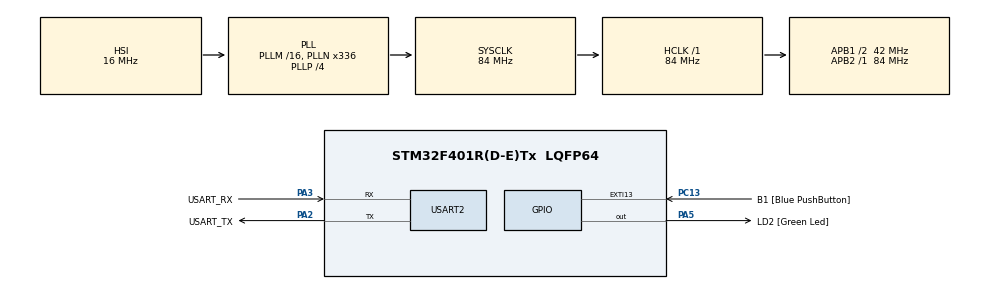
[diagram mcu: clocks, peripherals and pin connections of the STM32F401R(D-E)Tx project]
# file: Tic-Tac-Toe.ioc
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Mcu.Family=STM32F4
Mcu.Name=STM32F401R(D-E)Tx
Mcu.Package=LQFP64
NVIC.PriorityGroup=NVIC_PRIORITYGROUP_0
PA13.GPIO_Label=TMS
PA13.Mode=Serial_Wire
PA13.Signal=SYS_JTMS-SWDIO
PA14.GPIO_Label=TCK
PA14.Mode=Serial_Wire
PA14.Signal=SYS_JTCK-SWCLK
PA2.GPIO_Label=USART_TX
PA2.GPIO_Mode=GPIO_MODE_AF_PP
PA2.GPIO_PuPd=GPIO_NOPULL
PA2.GPIO_Speed=GPIO_SPEED_FREQ_LOW
PA2.Mode=Asynchronous
PA2.Signal=USART2_TX
PA3.GPIO_Label=USART_RX
PA3.GPIO_Mode=GPIO_MODE_AF_PP
PA3.GPIO_PuPd=GPIO_NOPULL
PA3.GPIO_Speed=GPIO_SPEED_FREQ_LOW
PA3.Mode=Asynchronous
PA3.Signal=USART2_RX
PA5.GPIO_Label=LD2 [Green Led]
PA5.GPIO_Mode=GPIO_MODE_OUTPUT_PP
PA5.GPIO_PuPd=GPIO_NOPULL
PA5.GPIO_Speed=GPIO_SPEED_FREQ_LOW
PA5.Signal=GPIO_Output
PB3.GPIO_Label=SWO
PB3.Signal=SYS_JTDO-SWO
PC13-ANTI_TAMP.GPIO_Label=B1 [Blue PushButton]
PC13-ANTI_TAMP.GPIO_ModeDefaultEXTI=GPIO_MODE_IT_FALLING
PC13-ANTI_TAMP.GPIO_PuPd=GPIO_NOPULL
PC13-ANTI_TAMP.Signal=GPXTI13
PC14-OSC32_IN.Mode=LSE-External-Oscillator
PC14-OSC32_IN.Signal=RCC_OSC32_IN
PC15-OSC32_OUT.Mode=LSE-External-Oscillator
PC15-OSC32_OUT.Signal=RCC_OSC32_OUT
PH0\ -\ OSC_IN.Mode=HSE-External-Clock-Source
PH0\ -\ OSC_IN.Signal=RCC_OSC_IN
PH1\ -\ OSC_OUT.Mode=HSE-External-Clock-Source
PH1\ -\ OSC_OUT.Signal=RCC_OSC_OUT
ProjectManager.HeapSize=0x200
ProjectManager.StackSize=0x400
ProjectManager.TargetToolchain=STM32CubeIDE
RCC.48MHZClocksFreq_Value=48000000
RCC.AHBFreq_Value=84000000
RCC.APB1CLKDivider=RCC_HCLK_DIV2
RCC.APB1Freq_Value=42000000
RCC.APB1TimFreq_Value=84000000
RCC.APB2Freq_Value=84000000
RCC.APB2TimFreq_Value=84000000
RCC.CortexFreq_Value=84000000
RCC.HCLKFreq_Value=84000000
RCC.HSE_VALUE=8000000
RCC.HSI_VALUE=16000000
RCC.PLLN=336
RCC.PLLP=RCC_PLLP_DIV4
RCC.PLLQ=7
RCC.SYSCLKFreq_VALUE=84000000
RCC.SYSCLKSource=RCC_SYSCLKSOURCE_PLLCLK
RCC.VCOOutputFreq_Value=336000000
USART2.VirtualMode=VM_ASYNC
board=NUCLEO-F401RE

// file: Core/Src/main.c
/* USER CODE BEGIN Header */
/**
  ******************************************************************************
  * @file           : main.c
  * @brief          : Main program body
  ******************************************************************************
  * @attention
  *
  * Copyright (c) 2024 STMicroelectronics.
  * All rights reserved.
  *
  * This software is licensed under terms that can be found in the LICENSE file
  * in the root directory of this software component.
  * If no LICENSE file comes with this software, it is provided AS-IS.
  *
  ******************************************************************************
  */
/* USER CODE END Header */
#include "main.h"
#include "usart.h"
#include "gpio.h"

/* USER CODE BEGIN PD */
#include <string.h>
#include <aifes.h>
#include "neural_network.h"
#include <time.h>
/* USER CODE END PD */

/* USER CODE BEGIN PM */

// Definizione dei simboli
#define  O   -64  // (value=-64; shift=6; zero_point=0) -> -1.0f
#define  X    64  // (value=64; shift=6; zero_point=0)  ->  1.0f

// The TicTacToe board. Can be X (AI), O (Player) or 0 (Free).
int8_t board[9];

/* USER CODE END PM */

void SystemClock_Config(void);

/* USER CODE BEGIN 0 */

// Funzione per inviare una stringa sulla seriale
void Serial_Print(UART_HandleTypeDef *huart, const char *message) {
    HAL_UART_Transmit(huart, (uint8_t *)message, strlen(message), HAL_MAX_DELAY);
}

// Funzione per leggere un singolo carattere dalla UART
uint8_t Serial_ReadChar(UART_HandleTypeDef *huart) {
    uint8_t ch;
    HAL_UART_Receive(huart, &ch, 1, HAL_MAX_DELAY);
    return ch;
}

// Funzione per stampare la board del Tic Tac Toe sulla seriale
void print_tictactoe_board(UART_HandleTypeDef *huart, int8_t *board) {
    uint8_t i, j;
    char buffer[32];

    Serial_Print(huart, "\n     a   b   c  \n");
    Serial_Print(huart, "   ------------- \n");

    for (i = 0; i < 3; i++) {
        snprintf(buffer, sizeof(buffer), "%d | ", i + 1);
        Serial_Print(huart, buffer);

        for (j = 0; j < 3; j++) {
            if (board[i * 3 + j] == O) {
                Serial_Print(huart, "O | ");
            } else if (board[i * 3 + j] == X) {
                Serial_Print(huart, "X | ");
            } else {
                Serial_Print(huart, "  | ");
            }
        }

        Serial_Print(huart, "\n   ------------- \n");
    }
    Serial_Print(huart, "\n");
}

// Funzione per determinare il vincitore del Tic Tac Toe
int8_t winner(int8_t *board) {
    int i, j;
    int x_count = 0;
    int o_count = 0;

    // Controlla le righe
    for (i = 0; i < 3; i++) {
        for (j = 0; j < 3; j++) {
            if (board[3 * i + j] == X) {
                x_count++;
            } else if (board[3 * i + j] == O) {
                o_count++;
            }
        }
        if (x_count == 3) return X;
        else if (o_count == 3) return O;
        else x_count = o_count = 0;
    }

    // Controlla le colonne
    for (i = 0; i < 3; i++) {
        for (j = 0; j < 3; j++) {
            if (board[3 * j + i] == X) {
                x_count++;
            } else if (board[3 * j + i] == O) {
                o_count++;
            }
        }
        if (x_count == 3) return X;
        else if (o_count == 3) return O;
        else x_count = o_count = 0;
    }

    // Controlla le diagonali
    for (i = 0; i < 3; i++) {
        if (board[3 * i + i] == X) {
            x_count++;
        } else if (board[3 * i + i] == O) {
            o_count++;
        }
    }
    if (x_count == 3) return X;
    else if (o_count == 3) return O;
    else x_count = o_count = 0;

    for (i = 0; i < 3; i++) {
        if (board[3 * i + 2 - i] == X) {
            x_count++;
        } else if (board[3 * i + 2 - i] == O) {
            o_count++;
        }
    }
    if (x_count == 3) return X;
    else if (o_count == 3) return O;

    return 0;
}

void tictactoe_game(UART_HandleTypeDef *huart) {
	uint8_t action;
	char user_input[2];
	uint8_t i;

	// Reset the board
	    for (i = 0; i < 9; i++) {
	        board[i] = 0;
	    }

	    // TicTacToe agent
	    Serial_Print(&huart2, "############ New Game ############\n");
	    print_tictactoe_board(&huart2, board);

	    for (i = 0; i < 5; i++) {
	        user_input[0] = user_input[1] = 0;

	        // Loop for reading valid input
	        while (1) {
	            Serial_Print(&huart2, "\nYour turn: Please enter the coordinates (e.g. a3) you want to place an O and press >enter<\n");

	            // Leggi il primo carattere
	            user_input[0] = Serial_ReadChar(&huart2);
	            HAL_Delay(10);  // Aggiungi un piccolo ritardo per evitare problemi di sincronizzazione

	            // Leggi il secondo carattere
	            user_input[1] = Serial_ReadChar(&huart2);
	            HAL_Delay(10);  // Aggiungi un piccolo ritardo per evitare problemi di sincronizzazione

	            // Calcola l'azione
	            action = (user_input[0] - 97) + (user_input[1] - 48 - 1) * 3;

	            // Verifica se l'input è valido
	            if ((user_input[0] < 97 || user_input[0] > 99 || user_input[1] < 49 || user_input[1] > 51)) {
	                Serial_Print(&huart2, "Wrong input. The coordinates have to be one of {a1, a2, a3, b1, b2, b3, c1, c2, c3}.\n");
	                user_input[0] = user_input[1] = 0;
	                continue;
	            } else if (board[action] != 0) {
	                Serial_Print(&huart2, "Wrong input. The field is already occupied.\n");
	                user_input[0] = user_input[1] = 0;
	                continue;
	            }

	            break;  // Esce dal ciclo solo se l'input è valido
	        }

	        // Update the board with user's action
	        board[action] = O;

	        char buffer[100];
	        snprintf(buffer, 100, "Scelta fatta dall'Utente : %c , %c\n", user_input[0], user_input[1]);
	        Serial_Print(&huart2, buffer);

	        print_tictactoe_board(&huart2, board);

	        if (winner(board) == O) {
	            Serial_Print(&huart2, "\n ******* Congratulations: You won the game! This should be impossible in theory. ******* \n\n");
	            break;
	        }

	        // Memorizzo il tempo di esecuzione del codice
	        double time_spent = 0.0;
	        clock_t begin = clock();

	        action = run_ai_agent(board);

	        clock_t end = clock();

	        // Calcola il tempo trascorso
	        time_spent += (double)(end - begin) / CLOCKS_PER_SEC;

	        // Update the board with AI's action
	        board[action] = X;

	        snprintf(buffer, 100, "The AI took %f μs to think about the turn.\n", time_spent);
	        Serial_Print(&huart2, buffer);
	        snprintf(buffer, 100, "\nAIs turn was %c%d\n", (char)(action % 3 + 97), (int)(action / 3 + 1));
	        Serial_Print(&huart2, buffer);

	        print_tictactoe_board(&huart2, board);

	        if (winner(board) == X) {
	            Serial_Print(&huart2, "\n ******* You lost the game! ******* \n\n");
	            break;
	        }
	    }
}
/* USER CODE END 0 */

int main(void)
{

  /* MCU Configuration--------------------------------------------------------*/

  /* Reset of all peripherals, Initializes the Flash interface and the Systick. */
  HAL_Init();

  /* Configure the system clock */
  SystemClock_Config();

  /* Initialize all configured peripherals */
  MX_GPIO_Init();
  MX_USART2_UART_Init();
  /* USER CODE BEGIN 2 */
  // Init neural network
  init_ai_agent(&huart2);
  /* USER CODE END 2 */

  /* Infinite loop */
  while (1)
  {
	tictactoe_game(&huart2);
  }
}

void SystemClock_Config(void)
{
  RCC_OscInitTypeDef RCC_OscInitStruct = {0};
  RCC_ClkInitTypeDef RCC_ClkInitStruct = {0};

  /** Configure the main internal regulator output voltage
  */
  __HAL_RCC_PWR_CLK_ENABLE();
  __HAL_PWR_VOLTAGESCALING_CONFIG(PWR_REGULATOR_VOLTAGE_SCALE2);

  /** Initializes the RCC Oscillators according to the specified parameters
  * in the RCC_OscInitTypeDef structure.
  */
  RCC_OscInitStruct.OscillatorType = RCC_OSCILLATORTYPE_HSI;
  RCC_OscInitStruct.HSIState = RCC_HSI_ON;
  RCC_OscInitStruct.HSICalibrationValue = RCC_HSICALIBRATION_DEFAULT;
  RCC_OscInitStruct.PLL.PLLState = RCC_PLL_ON;
  RCC_OscInitStruct.PLL.PLLSource = RCC_PLLSOURCE_HSI;
  RCC_OscInitStruct.PLL.PLLM = 16;
  RCC_OscInitStruct.PLL.PLLN = 336;
  RCC_OscInitStruct.PLL.PLLP = RCC_PLLP_DIV4;
  RCC_OscInitStruct.PLL.PLLQ = 7;
  if (HAL_RCC_OscConfig(&RCC_OscInitStruct) != HAL_OK)
  {
    Error_Handler();
  }

  /** Initializes the CPU, AHB and APB buses clocks
  */
  RCC_ClkInitStruct.ClockType = RCC_CLOCKTYPE_HCLK|RCC_CLOCKTYPE_SYSCLK
                              |RCC_CLOCKTYPE_PCLK1|RCC_CLOCKTYPE_PCLK2;
  RCC_ClkInitStruct.SYSCLKSource = RCC_SYSCLKSOURCE_PLLCLK;
  RCC_ClkInitStruct.AHBCLKDivider = RCC_SYSCLK_DIV1;
  RCC_ClkInitStruct.APB1CLKDivider = RCC_HCLK_DIV2;
  RCC_ClkInitStruct.APB2CLKDivider = RCC_HCLK_DIV1;

  if (HAL_RCC_ClockConfig(&RCC_ClkInitStruct, FLASH_LATENCY_2) != HAL_OK)
  {
    Error_Handler();
  }
}

void Error_Handler(void)
{
  __disable_irq();
  while (1)
  {
  }
}
